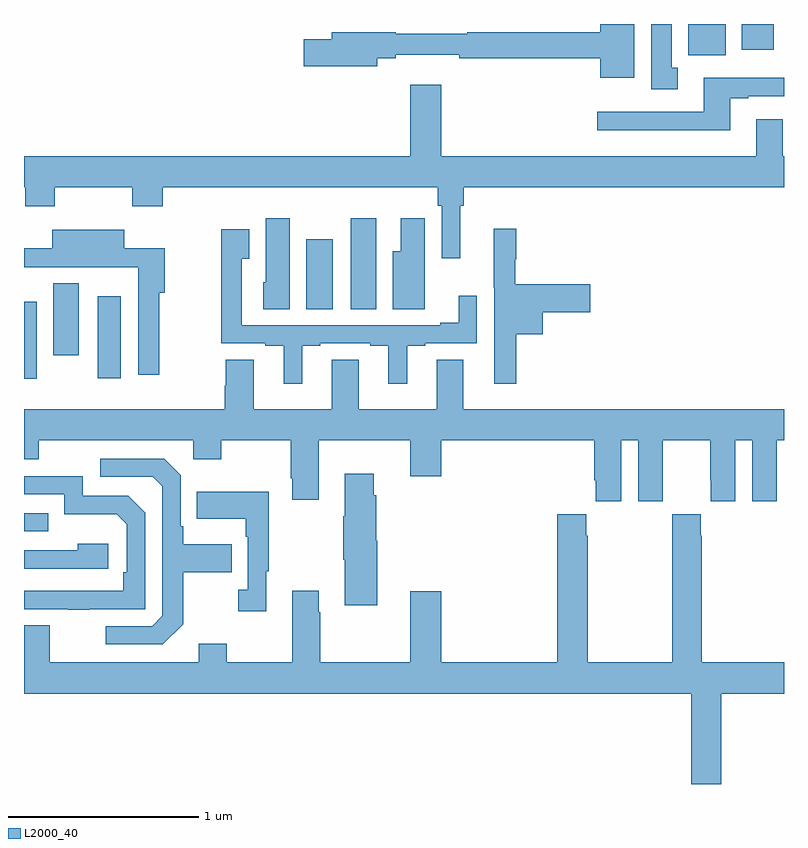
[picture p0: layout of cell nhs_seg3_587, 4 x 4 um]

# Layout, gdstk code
import gdstk
lib = gdstk.Library(unit=1e-6, precision=1e-09)
def R(c, l, rs):  # rectangles x0, y0, x1, y1
    for r in rs: c.add(gdstk.rectangle(r[:2], r[2:], *l))
def P(c, l, *ps):  # polygons
    for p in ps: c.add(gdstk.Polygon(p, *l))
L2000_40 = (2000, 40)

nhs_seg3_587 = lib.new_cell('nhs_seg3_587')
R(nhs_seg3_587, L2000_40, [(139,741.729,139.127,741.825), (139,742.533,139.066,742.939), (139.388,742.536,139.51,742.966), (139.154,742.656,139.288,743.035), (140.486,742.9,140.626,743.266), (140.72,742.9,140.854,743.377), (142.496,744.236,142.693,744.4), (142.778,744.264,142.945,744.4)])
P(nhs_seg3_587, L2000_40, [(142.213,744.4),(142.034,744.4),(142.034,744.356),(141.332,744.356),(141.332,744.349),(140.956,744.349),(140.956,744.356),(140.621,744.356),(140.621,744.32),(140.472,744.32),(140.472,744.178),(140.86,744.178),(140.86,744.22),(140.956,744.22),(140.956,744.239),(141.292,744.239),(141.292,744.22),(142.034,744.22),(142.034,744.116),(142.213,744.116)],
  [(142.441,744.17),(142.408,744.17),(142.408,744.4),(142.301,744.4),(142.301,744.057),(142.441,744.057)],
  [(142.717,744.009),(142.813,744.009),(142.813,744.021),(143,744.021),(143,744.118),(142.577,744.118),(142.577,743.937),(142.017,743.937),(142.017,743.84),(142.717,743.84)],
  [(141.296,743.444),(141.314,743.444),(141.314,743.54),(143,743.54),(143,743.704),(142.993,743.704),(142.993,743.899),(142.853,743.899),(142.853,743.704),(141.196,743.704),(141.196,744.079),(141.032,744.079),(141.032,743.704),(139,743.704),(139,743.54),(139.006,743.54),(139.006,743.441),(139.161,743.441),(139.161,743.54),(139.57,743.54),(139.57,743.441),(139.73,743.441),(139.73,743.54),(141.178,743.54),(141.178,743.444),(141.198,743.444),(141.198,743.166),(141.296,743.166)],
  [(141.109,743.377),(140.984,743.377),(140.984,743.203),(140.942,743.203),(140.942,742.9),(141.109,742.9)],
  [(140.398,743.377),(140.273,743.377),(140.273,743.04),(140.258,743.04),(140.258,742.9),(140.398,742.9)],
  [(141.59,742.766),(141.73,742.766),(141.73,742.883),(141.979,742.883),(141.979,743.03),(141.586,743.03),(141.586,743.162),(141.59,743.162),(141.59,743.323),(141.473,743.323),(141.473,743.013),(141.474,743.013),(141.474,742.506),(141.59,742.506)],
  [(140.464,742.707),(140.56,742.707),(140.56,742.719),(140.822,742.719),(140.822,742.707),(140.918,742.707),(140.918,742.506),(141.016,742.506),(141.016,742.707),(141.112,742.707),(141.112,742.719),(141.384,742.719),(141.384,742.969),(141.287,742.969),(141.287,742.828),(141.191,742.828),(141.191,742.815),(140.145,742.815),(140.145,743.164),(140.185,743.164),(140.185,743.32),(140.037,743.32),(140.037,742.719),(140.27,742.719),(140.27,742.707),(140.366,742.707),(140.366,742.506),(140.464,742.506)],
  [(139.711,742.985),(139.74,742.985),(139.74,743.22),(139.528,743.22),(139.528,743.317),(139.148,743.317),(139.148,743.22),(139,743.22),(139,743.12),(139.052,743.12),(139.052,743.121),(139.284,743.121),(139.284,743.12),(139.602,743.12),(139.602,742.554),(139.711,742.554)],
  [(142.144,742.208),(142.232,742.208),(142.232,741.888),(142.362,741.888),(142.362,742),(142.363,742),(142.363,742.208),(142.613,742.208),(142.613,742),(142.614,742),(142.614,741.888),(142.744,741.888),(142.744,742.208),(142.832,742.208),(142.832,741.888),(142.962,741.888),(142.962,742),(142.963,742),(142.963,742.208),(143,742.208),(143,742.372),(141.313,742.372),(141.313,742.634),(141.173,742.634),(141.173,742.372),(140.761,742.372),(140.761,742.634),(140.621,742.634),(140.621,742.372),(140.209,742.372),(140.209,742.634),(140.062,742.634),(140.062,742.497),(140.057,742.497),(140.057,742.372),(139,742.372),(139,742.109),(139.077,742.109),(139.077,742.208),(139.89,742.208),(139.89,742.109),(140.037,742.109),(140.037,742.208),(140.404,742.208),(140.404,742.009),(140.411,742.009),(140.411,741.897),(140.551,741.897),(140.551,742.208),(141.032,742.208),(141.032,742.02),(141.196,742.02),(141.196,742.208),(142.001,742.208),(142.001,742),(142.01,742),(142.01,741.888),(142.144,741.888)],
  [(139.837,741.241),(139.837,741.514),(140.093,741.514),(140.093,741.661),(139.837,741.661),(139.837,741.757),(139.824,741.757),(139.824,742.026),(139.737,742.113),(139.401,742.113),(139.401,742.017),(139.677,742.017),(139.728,741.966),(139.728,741.285),(139.674,741.231),(139.431,741.231),(139.431,741.135),(139.731,741.135)],
  [(140.86,741.681),(140.855,741.681),(140.855,741.92),(140.842,741.92),(140.842,742.033),(140.687,742.033),(140.687,741.809),(140.68,741.809),(140.68,741.581),(140.687,741.581),(140.687,741.341),(140.86,741.341)],
  [(139.343,741.321),(139.638,741.321),(139.638,741.828),(139.548,741.918),(139.308,741.918),(139.308,742.02),(139,742.02),(139,741.924),(139.212,741.924),(139.212,741.821),(139.489,741.821),(139.542,741.768),(139.542,741.514),(139.522,741.514),(139.522,741.417),(139,741.417),(139,741.321),(139.231,741.321),(139.231,741.316),(139.343,741.316)],
  [(140.275,741.521),(140.287,741.521),(140.287,741.937),(139.909,741.937),(139.909,741.797),(140.166,741.797),(140.166,741.701),(140.178,741.701),(140.178,741.422),(140.127,741.422),(140.127,741.309),(140.275,741.309)],
  [(142.671,740.876),(143,740.876),(143,741.04),(142.566,741.04),(142.566,741.707),(142.563,741.707),(142.563,741.82),(142.413,741.82),(142.413,741.707),(142.411,741.707),(142.411,741.04),(141.966,741.04),(141.966,741.707),(141.959,741.707),(141.959,741.82),(141.806,741.82),(141.806,741.04),(141.196,741.04),(141.196,741.415),(141.032,741.415),(141.032,741.04),(140.559,741.04),(140.559,741.305),(140.551,741.305),(140.551,741.418),(140.411,741.418),(140.411,741.04),(140.067,741.04),(140.067,741.139),(139.919,741.139),(139.919,741.04),(139.135,741.04),(139.135,741.235),(139,741.235),(139,740.876),(142.511,740.876),(142.511,740.4),(142.671,740.4)],
  [(139.444,741.664),(139.283,741.664),(139.283,741.63),(139,741.63),(139,741.534),(139.444,741.534)])

lib.write_gds('nhs_seg3_587.gds')
